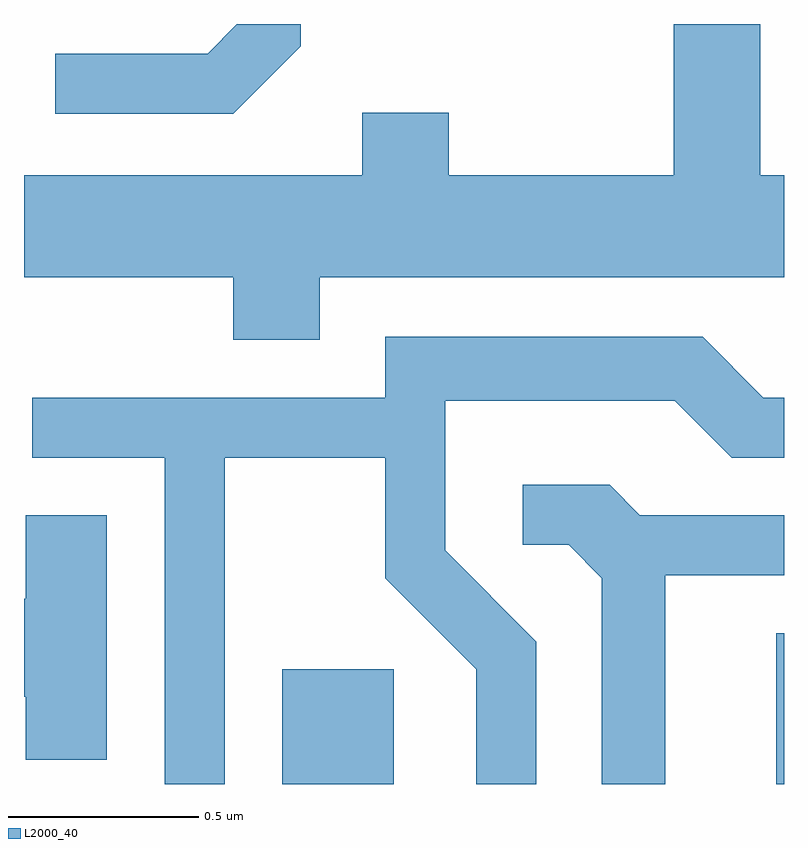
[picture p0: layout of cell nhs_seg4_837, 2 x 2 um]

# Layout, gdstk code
import gdstk
lib = gdstk.Library(unit=1e-6, precision=1e-09)
def R(c, l, rs):  # rectangles x0, y0, x1, y1
    for r in rs: c.add(gdstk.rectangle(r[:2], r[2:], *l))
def P(c, l, *ps):  # polygons
    for p in ps: c.add(gdstk.Polygon(p, *l))
L2000_40 = (2000, 40)

nhs_seg4_837 = lib.new_cell('nhs_seg4_837')
R(nhs_seg4_837, L2000_40, [(192.291,1268.982,192.584,1269.284), (193.591,1268.982,193.611,1269.379)])
P(nhs_seg4_837, L2000_40, [(192.389,1270.316),(193.611,1270.316),(193.611,1270.584),(193.549,1270.584),(193.549,1270.982),(193.321,1270.982),(193.321,1270.584),(192.729,1270.584),(192.729,1270.749),(192.501,1270.749),(192.501,1270.584),(191.611,1270.584),(191.611,1270.316),(192.161,1270.316),(192.161,1270.151),(192.389,1270.151)],
  [(192.339,1270.924),(192.339,1270.982),(192.171,1270.982),(192.094,1270.904),(191.693,1270.904),(191.693,1270.746),(192.162,1270.746)],
  [(192.139,1269.841),(192.561,1269.841),(192.561,1269.524),(192.801,1269.284),(192.801,1268.982),(192.959,1268.982),(192.959,1269.357),(192.719,1269.597),(192.719,1269.991),(193.324,1269.991),(193.474,1269.841),(193.611,1269.841),(193.611,1269.999),(193.557,1269.999),(193.397,1270.159),(192.561,1270.159),(192.561,1269.999),(191.633,1269.999),(191.633,1269.841),(191.981,1269.841),(191.981,1268.982),(192.139,1268.982)],
  [(193.299,1269.531),(193.611,1269.531),(193.611,1269.689),(193.232,1269.689),(193.152,1269.769),(192.923,1269.769),(192.923,1269.611),(193.044,1269.611),(193.131,1269.524),(193.131,1268.982),(193.299,1268.982)],
  [(191.829,1269.689),(191.616,1269.689),(191.616,1269.469),(191.611,1269.469),(191.611,1269.211),(191.616,1269.211),(191.616,1269.046),(191.829,1269.046)])

lib.write_gds('nhs_seg4_837.gds')
